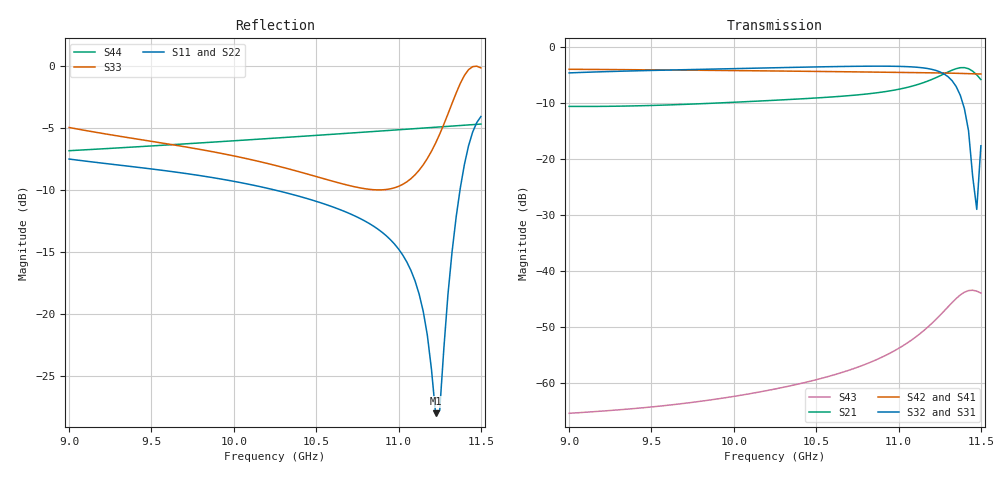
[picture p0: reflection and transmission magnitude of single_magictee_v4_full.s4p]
! Generated from PyAEDT SolutionData; AEDT ExportNetworkData workaround
# GHz S MA R 50
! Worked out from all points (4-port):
!   101 points, 9 GHz to 11.5 GHz, reference 50 ohm
!   strongest paths, dB at 9 GHz, 9.625 GHz, 10.25 GHz, 10.88 GHz, 11.5 GHz:
!     S32: -4.7, -4.2, -3.8, -3.5, -17.7
!     S31: -4.7, -4.2, -3.8, -3.5, -18.0
!     S42: -4.0, -4.2, -4.3, -4.5, -4.9
!     S41: -4.0, -4.2, -4.3, -4.6, -4.8
!     S21: -10.6, -10.4, -9.6, -8.2, -5.9
!     S43: -65.4, -63.9, -61.1, -55.7, -44.0
!   lowest |S11| = -28.0 dB at 11.22 GHz (marker M1), VSWR 1.08, Z = 46.2 + j0.518 ohm
!   |S11| at or under -10 dB: 10.25 GHz to 11.37 GHz (1.124 GHz wide, 10.4 % of centre)
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9  0.4217 13.1  0.2935 -63.9  0.5827 -13.8  0.6297 43.9
   0.2935 -63.9  0.4209 12.9  0.5839 -13.8  0.6291 -136.1
   0.5827 -13.8  0.5839 -13.8  0.5653 169.8  0.0005352 173.7
   0.6297 43.9  0.6291 -136.1  0.0005352 173.7  0.4557 -144.1
9.925  0.35 -95.5  0.3157 168.1  0.633 -176.4  0.6141 -57.9
       0.3157 168.1  0.3486 -95.7  0.6339 -176.3  0.6139 122.1
       0.633 -176.4  0.6339 -176.3  0.4443 -32.2  0.0007284 17.1
       0.6141 -57.9  0.6139 122.1  0.0007284 17.1  0.496 120.6
10.55  0.2778 -162.5  0.3527 84.0  0.662 76.7  0.6002 -123.1
       0.3527 84.0  0.2757 -162.5  0.6623 76.8  0.6008 56.9
       0.662 76.7  0.6623 76.8  0.3508 -156.9  0.001116 -81.9
       0.6002 -123.1  0.6008 56.9  0.001116 -81.9  0.5281 58.5
11.225  0.03977 171.9  0.5278 -16.7  0.6181 -60.4  0.5812 168.4
        0.5278 -16.7  0.03984 178.6  0.6155 -60.3  0.5839 -12.0
        0.6181 -60.4  0.6155 -60.3  0.489 76.9  0.003658 165.0
        0.5812 168.4  0.5839 -12.0  0.003658 165.0  0.5667 -7.7
11.4  0.401 -132.7  0.6509 -71.8  0.2851 -131.2  0.5782 151.0
      0.6509 -71.8  0.407 -133.2  0.28 -131.4  0.5765 -29.8
      0.2851 -131.2  0.28 -131.4  0.9167 11.9  0.006446 103.6
      0.5782 151.0  0.5765 -29.8  0.006446 103.6  0.5774 -24.8
11.475  0.5917 -164.5  0.5614 -104.3  0.03007 6.6  0.5778 143.4
        0.5614 -104.3  0.5969 -164.9  0.03535 9.3  0.5721 -37.2
        0.03007 6.6  0.03535 9.3  0.999 -28.4  0.006588 67.2
        0.5778 143.4  0.5721 -37.2  0.006588 67.2  0.582 -32.2
11.5  0.6256 -174.6  0.5094 -114.0  0.1257 -4.9  0.5774 140.8
      0.5094 -114.0  0.6304 -174.9  0.1307 -4.2  0.571 -39.7
      0.1257 -4.9  0.1307 -4.2  0.9834 -41.2  0.006334 56.0
      0.5774 140.8  0.571 -39.7  0.006334 56.0  0.5836 -34.6
